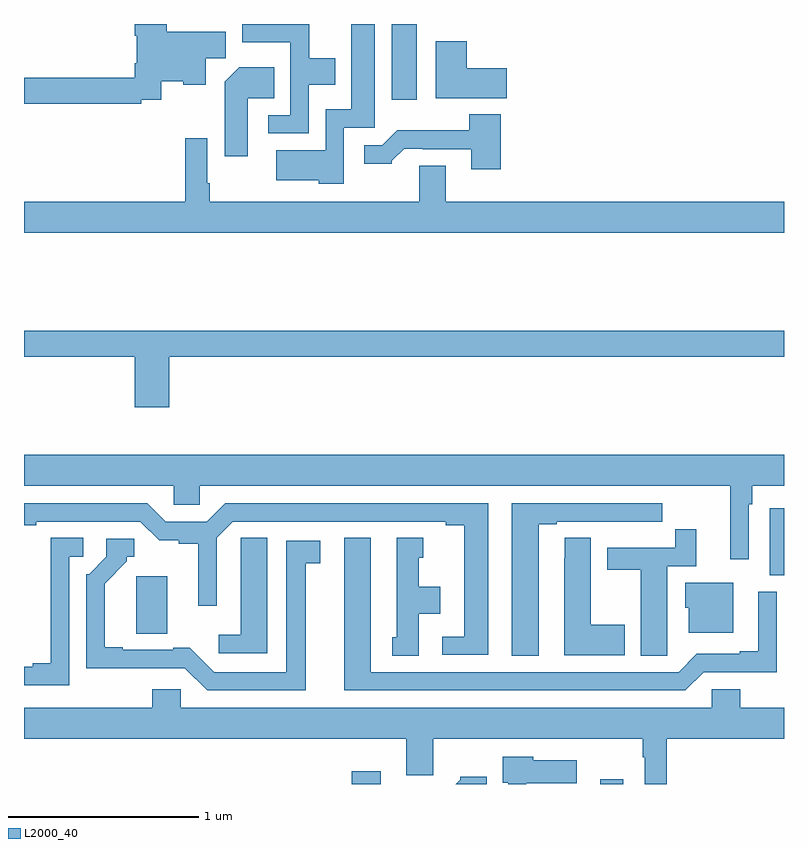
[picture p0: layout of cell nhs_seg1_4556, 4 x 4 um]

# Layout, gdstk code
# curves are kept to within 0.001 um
import gdstk
lib = gdstk.Library(unit=1e-6, precision=1e-09)
def R(c, l, rs):  # rectangles x0, y0, x1, y1
    for r in rs: c.add(gdstk.rectangle(r[:2], r[2:], *l))
def P(c, l, *ps):  # polygons
    for p in ps: c.add(gdstk.Polygon(p, *l))
L2000_40 = (2000, 40)

nhs_seg1_4556 = lib.new_cell('nhs_seg1_4556')
R(nhs_seg1_4556, L2000_40, [(360.725,514.199,360.877,514.267), (362.033,514.199,362.155,514.225), (362.924,515.297,363,515.65), (360.935,517.8,361.066,518.199)])
P(nhs_seg1_4556, L2000_40, [(360.684,517.653),(360.847,517.653),(360.847,518.199),(360.722,518.199),(360.722,517.75),(360.588,517.75),(360.588,517.534),(360.327,517.534),(360.327,517.376),(360.552,517.376),(360.552,517.358),(360.684,517.358)],
  [(360.498,517.88),(360.637,517.88),(360.637,518.02),(360.501,518.02),(360.501,518.199),(360.149,518.199),(360.149,518.102),(360.402,518.102),(360.402,517.719),(360.285,517.719),(360.285,517.623),(360.498,517.623)],
  [(359.618,517.8),(359.722,517.8),(359.722,517.898),(359.838,517.898),(359.838,517.88),(359.956,517.88),(359.956,518.02),(360.061,518.02),(360.061,518.158),(359.752,518.158),(359.752,518.199),(359.582,518.199),(359.582,518.138),(359.594,518.138),(359.594,517.993),(359.582,517.993),(359.582,517.916),(359,517.916),(359,517.78),(359.618,517.78)],
  [(361.54,517.966),(361.33,517.966),(361.33,518.107),(361.166,518.107),(361.166,517.808),(361.54,517.808)],
  [(360.178,517.808),(360.317,517.808),(360.317,517.972),(360.134,517.972),(360.056,517.894),(360.056,517.503),(360.178,517.503)],
  [(361.508,517.723),(361.343,517.723),(361.343,517.639),(360.964,517.639),(360.885,517.56),(360.792,517.56),(360.792,517.463),(360.936,517.463),(360.936,517.478),(361,517.542),(361.099,517.542),(361.099,517.539),(361.355,517.539),(361.355,517.434),(361.508,517.434)],
  [(363,517.264),(361.219,517.264),(361.219,517.454),(361.079,517.454),(361.079,517.264),(359.977,517.264),(359.977,517.36),(359.964,517.36),(359.964,517.597),(359.848,517.597),(359.848,517.264),(359,517.264),(359,517.1),(363,517.1)],
  [(359.765,516.448),(363,516.448),(363,516.584),(359,516.584),(359,516.448),(359.582,516.448),(359.582,516.183),(359.765,516.183)],
  [(362.814,515.672),(362.834,515.672),(362.834,515.768),(363,515.768),(363,515.932),(359,515.932),(359,515.768),(359.787,515.768),(359.787,515.67),(359.925,515.67),(359.925,515.768),(362.717,515.768),(362.717,515.382),(362.814,515.382)],
  [(361.444,515.676),(360.059,515.676),(359.963,515.58),(359.745,515.58),(359.649,515.676),(359,515.676),(359,515.56),(359.065,515.56),(359.065,515.58),(359.613,515.58),(359.711,515.483),(359.814,515.483),(359.814,515.464),(359.918,515.464),(359.918,515.136),(360.015,515.136),(360.015,515.496),(360.099,515.58),(361.22,515.58),(361.22,515.56),(361.316,515.56),(361.316,514.974),(361.2,514.974),(361.2,514.878),(361.444,514.878)],
  [(361.708,515.565),(361.804,515.565),(361.804,515.58),(362.08,515.58),(362.08,515.579),(362.246,515.579),(362.246,515.58),(362.359,515.58),(362.359,515.676),(361.568,515.676),(361.568,514.873),(361.708,514.873)],
  [(362.385,514.984),(362.386,514.984),(362.386,515.346),(362.537,515.346),(362.537,515.539),(362.428,515.539),(362.428,515.442),(362.069,515.442),(362.069,515.326),(362.246,515.326),(362.246,514.873),(362.385,514.873)],
  [(362.161,515.037),(361.984,515.037),(361.984,515.495),(361.845,515.495),(361.845,515.387),(361.844,515.387),(361.844,514.877),(362.161,514.877)],
  [(360.28,515.495),(360.141,515.495),(360.141,515.387),(360.14,515.387),(360.14,514.984),(360.024,514.984),(360.024,514.887),(360.28,514.887)],
  [(359.238,515.394),(359.311,515.394),(359.311,515.495),(359.141,515.495),(359.141,514.835),(359.045,514.835),(359.045,514.815),(359,514.815),(359,514.719),(359.238,514.719)],
  [(361.078,515.096),(361.192,515.096),(361.192,515.236),(361.078,515.236),(361.078,515.391),(361.102,515.391),(361.102,515.494),(360.962,515.494),(360.962,514.971),(360.938,514.971),(360.938,514.873),(361.078,514.873)],
  [(362.577,514.788),(362.961,514.788),(362.961,515.212),(362.864,515.212),(362.864,514.897),(362.768,514.897),(362.768,514.884),(362.541,514.884),(362.445,514.788),(360.826,514.788),(360.826,515.494),(360.686,515.494),(360.686,514.692),(362.481,514.692)],
  [(360.484,515.362),(360.559,515.362),(360.559,515.478),(360.38,515.478),(360.38,514.788),(360,514.788),(359.872,514.916),(359.786,514.916),(359.786,514.905),(359.521,514.905),(359.521,514.918),(359.425,514.918),(359.425,515.254),(359.542,515.371),(359.542,515.394),(359.581,515.394),(359.581,515.49),(359.433,515.49),(359.433,515.394),(359.343,515.304),(359.328,515.304),(359.328,514.808),(359.847,514.809),(359.964,514.692),(360.484,514.692)],
  [(359.754,515.148),(359.755,515.148),(359.755,515.293),(359.591,515.293),(359.591,514.99),(359.754,514.99)],
  [(362.734,515.257),(362.48,515.257),(362.48,515.127),(362.498,515.127),(362.498,514.994),(362.734,514.994)],
  [(362.384,514.436),(363,514.436),(363,514.6),(362.771,514.6),(362.771,514.698),(362.619,514.698),(362.619,514.6),(359.826,514.6),(359.826,514.698),(359.675,514.698),(359.675,514.6),(359,514.6),(359,514.436),(361.013,514.436),(361.013,514.246),(361.153,514.246),(361.153,514.436),(362.256,514.436),(362.256,514.34),(362.268,514.34),(362.268,514.199),(362.384,514.199)],
  [(361.644,514.202),(361.909,514.202),(361.909,514.324),(361.68,514.324),(361.68,514.342),(361.52,514.342),(361.52,514.206),(361.548,514.206),(361.548,514.199),(361.644,514.199)],
  [(361.435,514.237),(361.296,514.237),(361.296,514.222),(361.273,514.199),(361.435,514.199)])

lib.write_gds('nhs_seg1_4556.gds')
